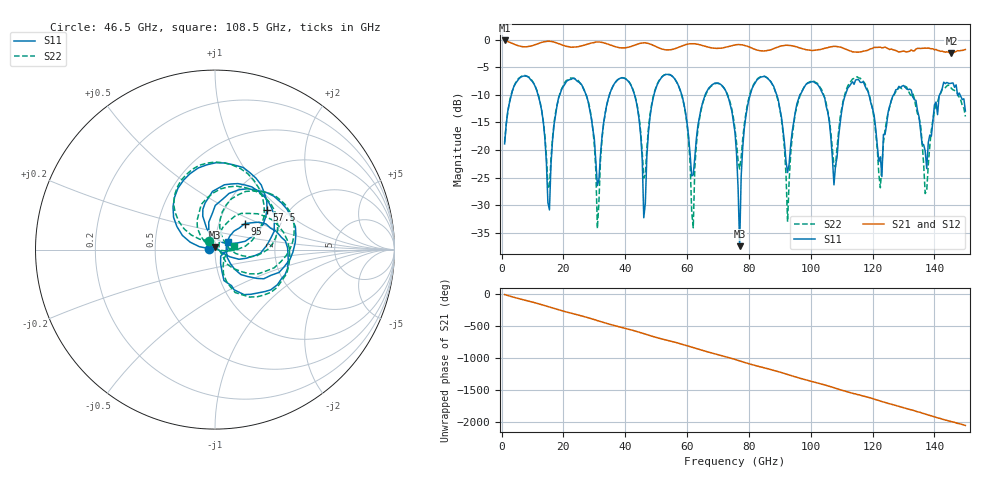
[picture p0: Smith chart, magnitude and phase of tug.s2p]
! hatab_megtron7_step30_6p0mm: multiline TRL calibrated (TUGMultilineTRL, scikit-rf 2.1.0)
! raw data ZiadHatab/verification-multiline-trl-calibration @ 021e735, mean of the repeated sweeps
! reference impedance: characteristic impedance of the 94 um 50 Ohm line,
! NOT 50 Ohm; the R value below is a placeholder required by the format
# Hz S RI R 50
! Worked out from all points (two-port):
!   299 points, 1 GHz to 150 GHz, reference 50 ohm
!   highest |S21| = -0.12 dB at 1 GHz (marker M1); lowest = -2.4 dB at 145.5 GHz (marker M2)
!   |S21| within 3 dB of the highest: start of sweep to end of sweep
!   lowest |S11| = -37.5 dB at 77 GHz (marker M3), VSWR 1.03, Z = 50.2 + j1.33 ohm
!   |S11| at or under -10 dB: 27.37 GHz to 34.88 GHz (7.517 GHz wide, 24.1 % of centre); 118.8 GHz to 126.8 GHz (7.953 GHz wide, 6.48 % of centre); 132.8 GHz to 141.7 GHz (8.808 GHz wide, 6.42 % of centre)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
!   |S22| runs from -34.3 to -6.2 dB; largest |S21 - S12| = 0.13
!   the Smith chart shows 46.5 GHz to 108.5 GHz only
!   S11 on the Smith chart (normalised r, x): 46.5 GHz: 0.94, +0.01; 57.5 GHz: 1.56, +0.81; 95 GHz: 1.33, +0.41; 108.5 GHz: 1.15, +0.10
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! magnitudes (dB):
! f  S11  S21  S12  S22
! 1 GHz  -18.9  -0.1  -0.1  -18.6
! 10 GHz  -7.6  -1.1  -1.0  -7.5
! 15.5 GHz  -30.9  -0.3  -0.3  -27.0
! 26 GHz  -8.2  -1.1  -1.1  -8.3
! 31 GHz  -26.5  -0.4  -0.4  -34.3
! 37 GHz  -7.6  -1.3  -1.3  -7.6
! 46.5 GHz  -29.7  -0.6  -0.6  -24.5
! 51 GHz  -7.4  -1.5  -1.5  -7.3
! 57.5 GHz  -8.7  -1.3  -1.3  -8.7
! 62 GHz  -24.5  -0.7  -0.7  -34.1
! 66 GHz  -9.8  -1.2  -1.2  -10.0
! 75.5 GHz  -16.8  -0.9  -0.9  -16.2
! 77 GHz  -37.5  -0.9  -0.9  -23.5
! 81 GHz  -8.9  -1.5  -1.6  -8.7
! 92.5 GHz  -24.1  -1.0  -1.0  -33.0
! 95 GHz  -13.1  -1.2  -1.3  -13.3
! 100.5 GHz  -7.6  -1.9  -1.9  -7.5
! 108.5 GHz  -21.3  -1.2  -1.2  -19.5
! 125.5 GHz  -12.1  -1.8  -1.7  -12.2
! 137 GHz  -20.1  -1.5  -1.4  -27.9
! 145.5 GHz  -7.9  -2.4  -2.5  -8.8
! 150 GHz  -12.9  -1.8  -1.9  -13.9
